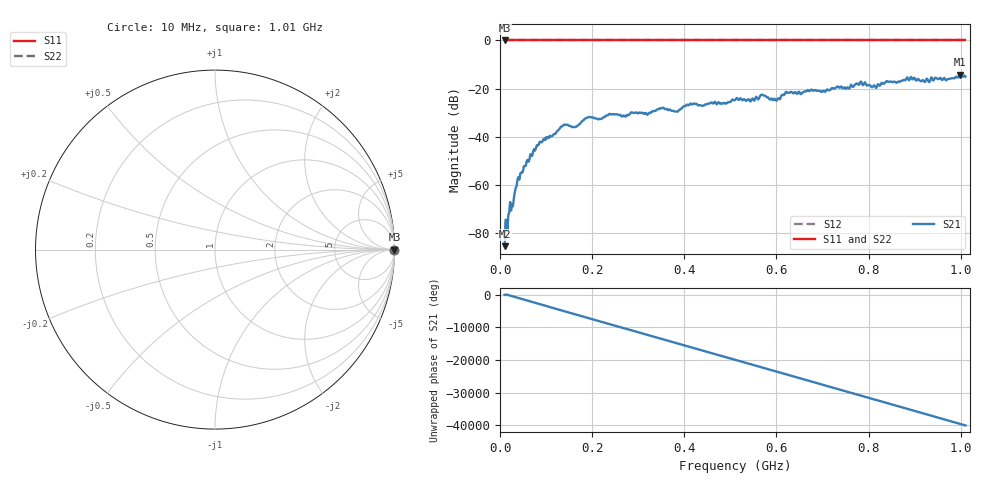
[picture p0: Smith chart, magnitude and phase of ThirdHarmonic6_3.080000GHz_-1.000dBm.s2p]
! 8/17/2025 9:01:48 AM
! C:\ANRITSUVNA\TEMP\TEMP.S2P
! CHANNEL.1
! TR.MEASUREMENT
! RAW.DATA
! RF.CORRECTION.OFF
! AVERAGING.OFF
! IF.BANDWIDTH: 5KHZ
! SWEEPTYPE:  FREQ.SWEEP(Linear)
! Reference Plane Port Info
! PORT:  PORT1  PORT2
! DISTANCE:  0  m  0  m
! TIME:  0  s  0  s
! PHASE.OFFSET:  0  deg.  0  deg.
! LOSS:  0  dB  0  dB
! REF.LOSS:  0  dB  0  dB
! REF.FREQ:  0  Hz  0  Hz
! Power Info
! POWER:  -20  dBm  -20  dBm
! EFF.POWER:  -20  dBm  -20  dBm
! SOURCE.ATTEN:  0  dB  0  dB
! TEST.ATTEN:  0  dB  0  dB
# GHZ S RI R 50.0
! FREQ.GHZ  S11RE  S11IM  S21RE  S21IM  S12RE  S12IM  S22RE  S22IM
!; PortSelection: Port_12
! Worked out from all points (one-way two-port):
!   501 points, 10 MHz to 1.01 GHz, reference 50 ohm
!   highest |S21| = -14.17 dB at 998 MHz (marker M1); lowest = -85.5 dB at 10 MHz (marker M2)
!   lowest |S11| = 0.0 dB at 10 MHz (marker M3)
!   |S11| at or under -10 dB: nowhere
!   |S22| runs from 0.0 to 0.0 dB; largest |S21 - S12| = 1.2
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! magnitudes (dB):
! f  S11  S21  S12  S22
! 10 MHz  0.0  -85.5  0.0  0.0
! 28 MHz  0.0  -68.9  0.0  0.0
! 42 MHz  0.0  -57.8  0.0  0.0
! 84 MHz  0.0  -43.3  0.0  0.0
! 136 MHz  0.0  -35.5  0.0  0.0
! 162 MHz  0.0  -35.9  0.0  0.0
! 178 MHz  0.0  -33.6  0.0  0.0
! 344 MHz  0.0  -28.6  0.0  0.0
! 382 MHz  0.0  -29.5  0.0  0.0
! 410 MHz  0.0  -27.0  0.0  0.0
! 510 MHz  0.0  -24.7  0.0  0.0
! 548 MHz  0.0  -24.1  0.0  0.0
! 570 MHz  0.0  -22.6  0.0  0.0
! 596 MHz  0.0  -24.2  0.0  0.0
! 622 MHz  0.0  -21.4  0.0  0.0
! 678 MHz  0.0  -20.8  0.0  0.0
! 754 MHz  0.0  -19.4  0.0  0.0
! 780 MHz  0.0  -18.3  0.0  0.0
! 814 MHz  0.0  -19.1  0.0  0.0
! 844 MHz  0.0  -17.2  0.0  0.0
! 998 MHz  0.0  -14.2  0.0  0.0
! 1.01 GHz  0.0  -15.0  0.0  0.0
